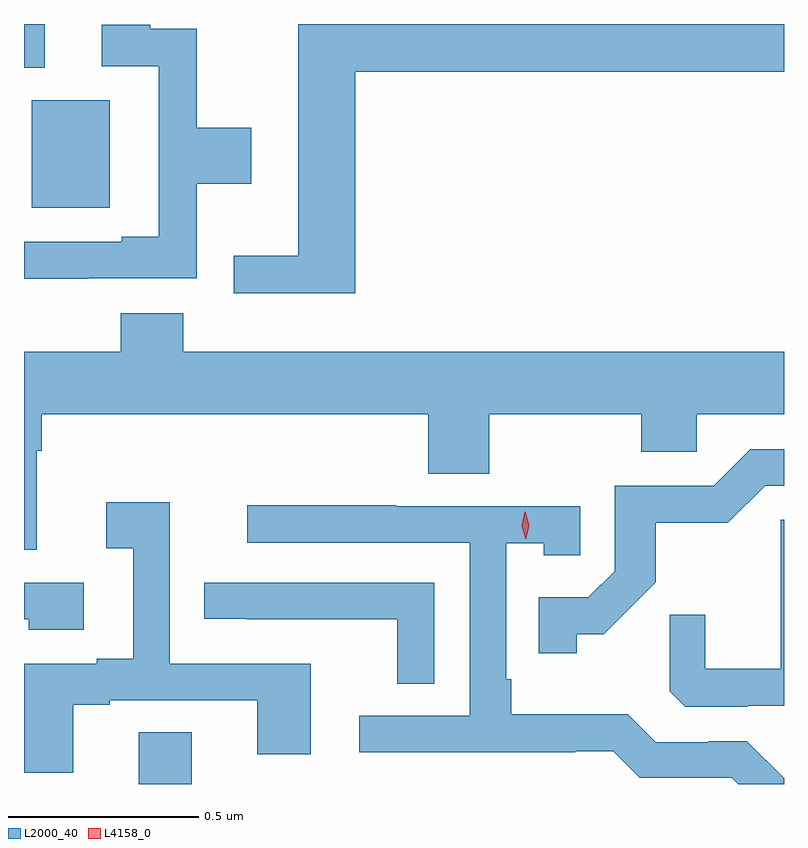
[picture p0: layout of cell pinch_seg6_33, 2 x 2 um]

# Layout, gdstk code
import gdstk
lib = gdstk.Library(unit=1e-6, precision=1e-09)
def R(c, l, rs):  # rectangles x0, y0, x1, y1
    for r in rs: c.add(gdstk.rectangle(r[:2], r[2:], *l))
def P(c, l, *ps):  # polygons
    for p in ps: c.add(gdstk.Polygon(p, *l))
L2000_40 = (2000, 40)
L4158_0 = (4158, 0)

pinch_seg6_33 = lib.new_cell('pinch_seg6_33')
R(pinch_seg6_33, L2000_40, [(1010.969,962.347,1011.109,962.483), (1010.687,963.863,1010.893,964.147), (1010.667,964.232,1010.722,964.347)])
P(pinch_seg6_33, L2000_40, [(1011.539,964.222),(1012.667,964.222),(1012.667,964.347),(1011.389,964.347),(1011.389,963.737),(1011.219,963.737),(1011.219,963.638),(1011.539,963.638)],
  [(1010.837,963.678),(1011.122,963.678),(1011.122,963.926),(1011.265,963.926),(1011.265,964.074),(1011.122,964.074),(1011.122,964.334),(1010.999,964.334),(1010.999,964.345),(1010.871,964.345),(1010.871,964.236),(1011.021,964.236),(1011.021,963.787),(1010.924,963.787),(1010.924,963.774),(1010.667,963.774),(1010.667,963.677),(1010.837,963.677)],
  [(1011.086,963.586),(1010.921,963.586),(1010.921,963.484),(1010.667,963.484),(1010.667,962.964),(1010.701,962.964),(1010.701,963.224),(1010.714,963.224),(1010.714,963.32),(1011.731,963.32),(1011.731,963.163),(1011.891,963.163),(1011.891,963.32),(1012.291,963.32),(1012.291,963.222),(1012.437,963.222),(1012.437,963.32),(1012.667,963.32),(1012.667,963.484),(1011.086,963.484)],
  [(1012.122,962.741),(1012.192,962.741),(1012.33,962.878),(1012.33,963.034),(1012.519,963.034),(1012.617,963.132),(1012.667,963.132),(1012.667,963.228),(1012.578,963.228),(1012.482,963.132),(1012.221,963.132),(1012.221,962.907),(1012.152,962.838),(1012.021,962.838),(1012.021,962.691),(1012.122,962.691)],
  [(1010.797,962.556),(1010.893,962.556),(1010.893,962.568),(1011.281,962.568),(1011.281,962.425),(1011.421,962.425),(1011.421,962.664),(1011.051,962.664),(1011.051,963.088),(1010.883,963.088),(1010.883,962.968),(1010.954,962.968),(1010.954,962.677),(1010.858,962.677),(1010.858,962.664),(1010.667,962.664),(1010.667,962.376),(1010.797,962.376)],
  [(1012.667,962.362),(1012.569,962.46),(1012.468,962.46),(1012.468,962.457),(1012.329,962.457),(1012.256,962.53),(1011.949,962.53),(1011.949,962.623),(1011.936,962.623),(1011.936,962.981),(1012.035,962.981),(1012.035,962.949),(1012.131,962.949),(1012.131,963.078),(1011.647,963.078),(1011.647,963.081),(1011.255,963.081),(1011.255,962.982),(1011.84,962.982),(1011.84,962.526),(1011.549,962.526),(1011.549,962.43),(1012.118,962.43),(1012.118,962.433),(1012.218,962.433),(1012.287,962.364),(1012.53,962.364),(1012.547,962.347),(1012.667,962.347)],
  [(1012.572,962.553),(1012.667,962.553),(1012.667,963.042),(1012.658,963.042),(1012.658,962.65),(1012.46,962.65),(1012.46,962.793),(1012.366,962.793),(1012.366,962.591),(1012.407,962.55),(1012.572,962.55)],
  [(1011.747,962.877),(1011.141,962.877),(1011.141,962.782),(1011.253,962.782),(1011.253,962.781),(1011.649,962.781),(1011.649,962.611),(1011.747,962.611)],
  [(1010.824,962.877),(1010.667,962.877),(1010.667,962.781),(1010.679,962.781),(1010.679,962.753),(1010.824,962.753)])
P(pinch_seg6_33, L4158_0, [(1011.988,962.991),(1011.988,962.991),(1011.977,963.026),(1011.985,963.063),(1011.985,963.063),(1011.986,963.063),(1011.997,963.027),(1011.988,962.991)])

lib.write_gds('pinch_seg6_33.gds')
